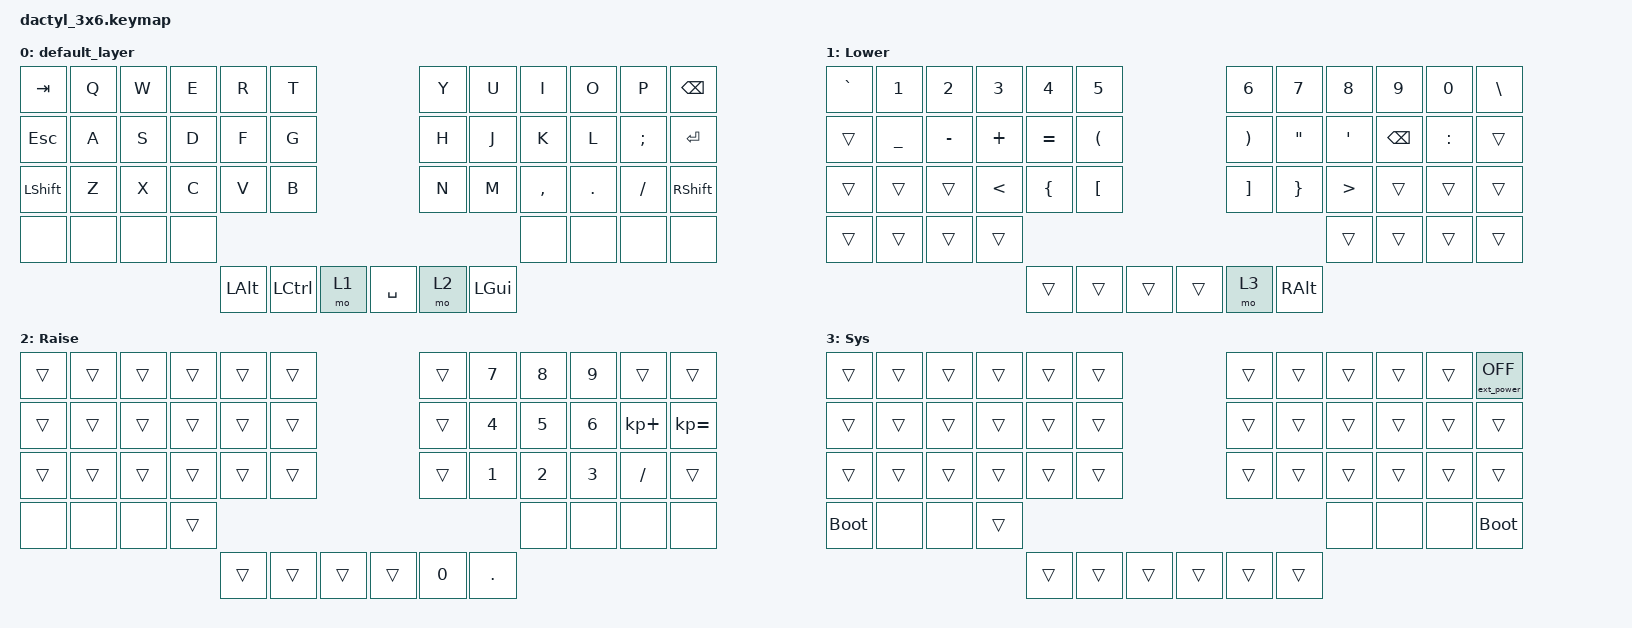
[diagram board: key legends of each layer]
#include <behaviors.dtsi>
#include <dt-bindings/zmk/keys.h>
#include <dt-bindings/zmk/bt.h>

/ {
    chosen {
        zmk,matrix_transform = &dactyl_single_arc_number_row;
    };

    keymap {
        compatible = "zmk,keymap";

        default_layer {
            bindings = <
                &kp TAB  &kp Q  &kp W  &kp E  &kp R  &kp T                &kp Y  &kp U  &kp I  &kp O  &kp P  &kp BACKSPACE 
                &kp ESC  &kp A  &kp S  &kp D  &kp F  &kp G                &kp H  &kp J  &kp K  &kp L  &kp SEMICOLON  &kp ENTER
                &kp LSHFT  &kp Z  &kp X  &kp C  &kp V  &kp B              &kp N  &kp M  &kp COMMA  &kp DOT  &kp FSLH  &kp RSHFT
                        &none  &none  &none  &none                                 &none  &none  &none  &none
                                &kp LEFT_ALT  &kp LCTRL  &mo 1  &kp SPACE  &mo 2  &kp LEFT_GUI
            >;
        };

        lower_layer {
            display-name = "Lower";
            bindings = <
                &kp GRAVE  &kp N1  &kp N2  &kp N3  &kp N4  &kp N5                   &kp N6  &kp N7  &kp N8  &kp N9  &kp N0  &kp BACKSLASH
                &trans  &kp UNDERSCORE  &kp MINUS  &kp PLUS  &kp EQUAL              &kp LPAR  &kp RPAR  &kp DOUBLE_QUOTES  &kp SINGLE_QUOTE  &kp BACKSPACE  &kp COLON  &trans 
                &trans  &trans  &trans  &kp LT  &kp LEFT_BRACE  &kp LEFT_BRACKET    &kp RIGHT_BRACKET  &kp RIGHT_BRACE  &kp GT  &trans  &trans  &trans
                       &trans  &trans  &trans  &trans                                               &trans  &trans  &trans &trans
                                            &trans  &trans  &trans    &trans  &mo 3  &kp RIGHT_ALT
            >;
        };

        raise_layer {
            display-name = "Raise";
            bindings = <
                &trans  &trans  &trans  &trans  &trans  &trans                         &trans  &kp N7  &kp N8  &kp N9  &trans  &trans
                &trans  &trans  &trans  &trans  &trans  &trans                         &trans  &kp N4  &kp N5  &kp N6  &kp KP_PLUS  &kp KP_EQUAL  
                &trans  &trans  &trans  &trans  &trans  &trans                         &trans  &kp N1  &kp N2  &kp N3  &kp SLASH  &trans  
                &none  &none  &none  &trans                                                           &none  &none  &none  &none
                                                &trans  &trans  &trans  &trans  &kp N0  &kp DOT
            >;
        };

        sys_layer {
            display-name = "Sys";
            bindings = <
                &trans  &trans  &trans  &trans  &trans  &trans                         &trans  &trans  &trans  &trans  &trans  &ext_power EP_OFF
                &trans  &trans  &trans  &trans  &trans  &trans                         &trans  &trans  &trans  &trans  &trans  &trans
                &trans  &trans  &trans  &trans  &trans  &trans                         &trans  &trans  &trans  &trans  &trans  &trans
                &bootloader  &none  &none  &trans                                               &none  &none  &none  &bootloader
                                                &trans  &trans  &trans  &trans  &trans  &trans
            >;
        };
    };
};
